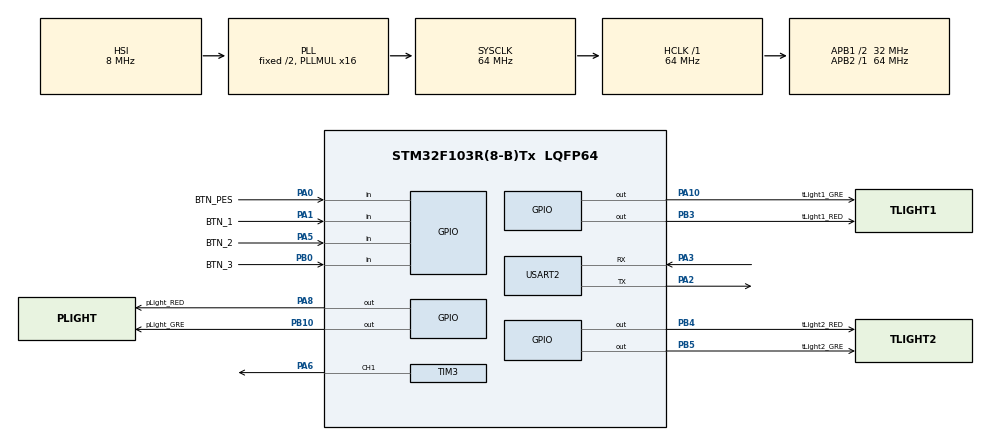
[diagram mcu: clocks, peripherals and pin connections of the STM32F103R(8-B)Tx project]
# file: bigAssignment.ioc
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Mcu.Family=STM32F1
Mcu.Name=STM32F103R(8-B)Tx
Mcu.Package=LQFP64
NVIC.PriorityGroup=NVIC_PRIORITYGROUP_4
NVIC.TIM2_IRQn=true\:0\:0\:false\:false\:true\:true\:true
PA0-WKUP.GPIO_Label=BTN_PES
PA0-WKUP.GPIO_PuPd=GPIO_PULLUP
PA0-WKUP.Signal=GPIO_Input
PA1.GPIO_Label=BTN_1
PA1.GPIO_PuPd=GPIO_PULLUP
PA1.Signal=GPIO_Input
PA10.GPIO_Label=tLight1_GRE
PA10.Signal=GPIO_Output
PA13.Mode=Serial_Wire
PA13.Signal=SYS_JTMS-SWDIO
PA14.Mode=Serial_Wire
PA14.Signal=SYS_JTCK-SWCLK
PA2.Mode=Asynchronous
PA2.Signal=USART2_TX
PA3.Mode=Asynchronous
PA3.Signal=USART2_RX
PA5.GPIO_Label=BTN_2
PA5.GPIO_PuPd=GPIO_PULLUP
PA5.Signal=GPIO_Input
PA6.Signal=S_TIM3_CH1
PA8.GPIO_Label=pLight_RED
PA8.Signal=GPIO_Output
PB0.GPIO_Label=BTN_3
PB0.GPIO_PuPd=GPIO_PULLUP
PB0.Signal=GPIO_Input
PB10.GPIO_Label=pLight_GRE
PB10.Signal=GPIO_Output
PB3.GPIO_Label=tLight1_RED
PB3.Signal=GPIO_Output
PB4.GPIO_Label=tLight2_RED
PB4.Signal=GPIO_Output
PB5.GPIO_Label=tLight2_GRE
PB5.Signal=GPIO_Output
ProjectManager.HeapSize=0x200
ProjectManager.StackSize=0x400
ProjectManager.TargetToolchain=STM32CubeIDE
RCC.AHBFreq_Value=64000000
RCC.APB1CLKDivider=RCC_HCLK_DIV2
RCC.APB1Freq_Value=32000000
RCC.APB1TimFreq_Value=64000000
RCC.APB2Freq_Value=64000000
RCC.APB2TimFreq_Value=64000000
RCC.HCLKFreq_Value=64000000
RCC.PLLMUL=RCC_PLL_MUL16
RCC.SYSCLKFreq_VALUE=64000000
RCC.SYSCLKSource=RCC_SYSCLKSOURCE_PLLCLK
RCC.USBFreq_Value=64000000
SH.S_TIM3_CH1.0=TIM3_CH1,PWM Generation1 CH1
TIM2.Period=10
TIM2.Prescaler=63999
TIM3.Channel-PWM\ Generation1\ CH1=TIM_CHANNEL_1
TIM3.Period=999
TIM3.Prescaler=63
USART2.VirtualMode=VM_ASYNC
VP_TIM2_VS_ClockSourceINT.Mode=Internal
VP_TIM3_VS_ClockSourceINT.Mode=Internal
board=custom

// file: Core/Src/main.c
/* USER CODE BEGIN Header */
/**
  ******************************************************************************
  * @file           : main.c
  * @brief          : Main program body
  ******************************************************************************
  * @attention
  *
  * <h2><center>&copy; Copyright (c) 2022 STMicroelectronics.
  * All rights reserved.</center></h2>
  *
  * This software component is licensed by ST under BSD 3-Clause license,
  * the "License"; You may not use this file except in compliance with the
  * License. You may obtain a copy of the License at:
  *                        opensource.org/licenses/BSD-3-Clause
  *
  ******************************************************************************
  */
/* USER CODE END Header */
#include "main.h"

/* USER CODE BEGIN Includes */
#include "button.h"
#include "software_timer.h"
#include "display_trafficLed.h"
#include "global.h"
#include "fsm_buttons.h"
#include "fsm.h"
#include "buzzer.h"
/* USER CODE END Includes */

TIM_HandleTypeDef htim2;
TIM_HandleTypeDef htim3;

UART_HandleTypeDef huart2;

void SystemClock_Config(void);
static void MX_GPIO_Init(void);
static void MX_TIM2_Init(void);
static void MX_USART2_UART_Init(void);
static void MX_TIM3_Init(void);

/* USER CODE BEGIN 0 */
char str[40] ;

void showTimer() {
	if(TIME %100 == 0) {
			int value = TIME/100 - 1;
			if(value >= 0){
			HAL_UART_Transmit(&huart2, (void*) str,
								sprintf(str, "TIME = %d \r", value), 1000);
			}
				}
}

void buzzer(int buz){
	__HAL_TIM_SetCompare(&htim3, TIM_CHANNEL_1, buz);
}
/* USER CODE END 0 */

int main(void)
{

  /* MCU Configuration--------------------------------------------------------*/

  /* Reset of all peripherals, Initializes the Flash interface and the Systick. */
  HAL_Init();

  /* Configure the system clock */
  SystemClock_Config();

  /* Initialize all configured peripherals */
  MX_GPIO_Init();
  MX_TIM2_Init();
  MX_USART2_UART_Init();
  MX_TIM3_Init();
  /* USER CODE BEGIN 2 */
  HAL_TIM_Base_Start_IT(&htim2);
  	HAL_TIM_PWM_Start(&htim3, TIM_CHANNEL_1);
  /* USER CODE END 2 */

  /* Infinite loop */
  /* USER CODE BEGIN WHILE */
	setTimer_tLight1(100);
	setTimer_tLight2(200);
	status = AUTOMATIC;
		status_1 = NORMAL;
  while (1)
  {
    /* USER CODE END WHILE */

    /* USER CODE BEGIN 3 */
		fsm_simple_buttons_run();
		fsm_run();
		fsm_pesRUN();
		showTimer();
  }
  /* USER CODE END 3 */
}

void SystemClock_Config(void)
{
  RCC_OscInitTypeDef RCC_OscInitStruct = {0};
  RCC_ClkInitTypeDef RCC_ClkInitStruct = {0};

  /** Initializes the RCC Oscillators according to the specified parameters
  * in the RCC_OscInitTypeDef structure.
  */
  RCC_OscInitStruct.OscillatorType = RCC_OSCILLATORTYPE_HSI;
  RCC_OscInitStruct.HSIState = RCC_HSI_ON;
  RCC_OscInitStruct.HSICalibrationValue = RCC_HSICALIBRATION_DEFAULT;
  RCC_OscInitStruct.PLL.PLLState = RCC_PLL_ON;
  RCC_OscInitStruct.PLL.PLLSource = RCC_PLLSOURCE_HSI_DIV2;
  RCC_OscInitStruct.PLL.PLLMUL = RCC_PLL_MUL16;
  if (HAL_RCC_OscConfig(&RCC_OscInitStruct) != HAL_OK)
  {
    Error_Handler();
  }
  /** Initializes the CPU, AHB and APB buses clocks
  */
  RCC_ClkInitStruct.ClockType = RCC_CLOCKTYPE_HCLK|RCC_CLOCKTYPE_SYSCLK
                              |RCC_CLOCKTYPE_PCLK1|RCC_CLOCKTYPE_PCLK2;
  RCC_ClkInitStruct.SYSCLKSource = RCC_SYSCLKSOURCE_PLLCLK;
  RCC_ClkInitStruct.AHBCLKDivider = RCC_SYSCLK_DIV1;
  RCC_ClkInitStruct.APB1CLKDivider = RCC_HCLK_DIV2;
  RCC_ClkInitStruct.APB2CLKDivider = RCC_HCLK_DIV1;

  if (HAL_RCC_ClockConfig(&RCC_ClkInitStruct, FLASH_LATENCY_2) != HAL_OK)
  {
    Error_Handler();
  }
}

static void MX_TIM2_Init(void)
{

  TIM_ClockConfigTypeDef sClockSourceConfig = {0};
  TIM_MasterConfigTypeDef sMasterConfig = {0};

  htim2.Instance = TIM2;
  htim2.Init.Prescaler = 63999;
  htim2.Init.CounterMode = TIM_COUNTERMODE_UP;
  htim2.Init.Period = 10;
  htim2.Init.ClockDivision = TIM_CLOCKDIVISION_DIV1;
  htim2.Init.AutoReloadPreload = TIM_AUTORELOAD_PRELOAD_DISABLE;
  if (HAL_TIM_Base_Init(&htim2) != HAL_OK)
  {
    Error_Handler();
  }
  sClockSourceConfig.ClockSource = TIM_CLOCKSOURCE_INTERNAL;
  if (HAL_TIM_ConfigClockSource(&htim2, &sClockSourceConfig) != HAL_OK)
  {
    Error_Handler();
  }
  sMasterConfig.MasterOutputTrigger = TIM_TRGO_RESET;
  sMasterConfig.MasterSlaveMode = TIM_MASTERSLAVEMODE_DISABLE;
  if (HAL_TIMEx_MasterConfigSynchronization(&htim2, &sMasterConfig) != HAL_OK)
  {
    Error_Handler();
  }

}

static void MX_TIM3_Init(void)
{

  TIM_ClockConfigTypeDef sClockSourceConfig = {0};
  TIM_MasterConfigTypeDef sMasterConfig = {0};
  TIM_OC_InitTypeDef sConfigOC = {0};

  htim3.Instance = TIM3;
  htim3.Init.Prescaler = 63;
  htim3.Init.CounterMode = TIM_COUNTERMODE_UP;
  htim3.Init.Period = 999;
  htim3.Init.ClockDivision = TIM_CLOCKDIVISION_DIV1;
  htim3.Init.AutoReloadPreload = TIM_AUTORELOAD_PRELOAD_DISABLE;
  if (HAL_TIM_Base_Init(&htim3) != HAL_OK)
  {
    Error_Handler();
  }
  sClockSourceConfig.ClockSource = TIM_CLOCKSOURCE_INTERNAL;
  if (HAL_TIM_ConfigClockSource(&htim3, &sClockSourceConfig) != HAL_OK)
  {
    Error_Handler();
  }
  if (HAL_TIM_PWM_Init(&htim3) != HAL_OK)
  {
    Error_Handler();
  }
  sMasterConfig.MasterOutputTrigger = TIM_TRGO_RESET;
  sMasterConfig.MasterSlaveMode = TIM_MASTERSLAVEMODE_DISABLE;
  if (HAL_TIMEx_MasterConfigSynchronization(&htim3, &sMasterConfig) != HAL_OK)
  {
    Error_Handler();
  }
  sConfigOC.OCMode = TIM_OCMODE_PWM1;
  sConfigOC.Pulse = 0;
  sConfigOC.OCPolarity = TIM_OCPOLARITY_HIGH;
  sConfigOC.OCFastMode = TIM_OCFAST_DISABLE;
  if (HAL_TIM_PWM_ConfigChannel(&htim3, &sConfigOC, TIM_CHANNEL_1) != HAL_OK)
  {
    Error_Handler();
  }
  HAL_TIM_MspPostInit(&htim3);

}

static void MX_USART2_UART_Init(void)
{

  huart2.Instance = USART2;
  huart2.Init.BaudRate = 115200;
  huart2.Init.WordLength = UART_WORDLENGTH_8B;
  huart2.Init.StopBits = UART_STOPBITS_1;
  huart2.Init.Parity = UART_PARITY_NONE;
  huart2.Init.Mode = UART_MODE_TX_RX;
  huart2.Init.HwFlowCtl = UART_HWCONTROL_NONE;
  huart2.Init.OverSampling = UART_OVERSAMPLING_16;
  if (HAL_UART_Init(&huart2) != HAL_OK)
  {
    Error_Handler();
  }

}

static void MX_GPIO_Init(void)
{
  GPIO_InitTypeDef GPIO_InitStruct = {0};

  /* GPIO Ports Clock Enable */
  __HAL_RCC_GPIOA_CLK_ENABLE();
  __HAL_RCC_GPIOB_CLK_ENABLE();

  /*Configure GPIO pin Output Level */
  HAL_GPIO_WritePin(GPIOB, pLight_GRE_Pin|tLight1_RED_Pin|tLight2_RED_Pin|tLight2_GRE_Pin, GPIO_PIN_RESET);

  /*Configure GPIO pin Output Level */
  HAL_GPIO_WritePin(GPIOA, pLight_RED_Pin|tLight1_GRE_Pin, GPIO_PIN_RESET);

  /*Configure GPIO pins : BTN_PES_Pin BTN_1_Pin BTN_2_Pin */
  GPIO_InitStruct.Pin = BTN_PES_Pin|BTN_1_Pin|BTN_2_Pin;
  GPIO_InitStruct.Mode = GPIO_MODE_INPUT;
  GPIO_InitStruct.Pull = GPIO_PULLUP;
  HAL_GPIO_Init(GPIOA, &GPIO_InitStruct);

  /*Configure GPIO pin : BTN_3_Pin */
  GPIO_InitStruct.Pin = BTN_3_Pin;
  GPIO_InitStruct.Mode = GPIO_MODE_INPUT;
  GPIO_InitStruct.Pull = GPIO_PULLUP;
  HAL_GPIO_Init(BTN_3_GPIO_Port, &GPIO_InitStruct);

  /*Configure GPIO pins : pLight_GRE_Pin tLight1_RED_Pin tLight2_RED_Pin tLight2_GRE_Pin */
  GPIO_InitStruct.Pin = pLight_GRE_Pin|tLight1_RED_Pin|tLight2_RED_Pin|tLight2_GRE_Pin;
  GPIO_InitStruct.Mode = GPIO_MODE_OUTPUT_PP;
  GPIO_InitStruct.Pull = GPIO_NOPULL;
  GPIO_InitStruct.Speed = GPIO_SPEED_FREQ_LOW;
  HAL_GPIO_Init(GPIOB, &GPIO_InitStruct);

  /*Configure GPIO pins : pLight_RED_Pin tLight1_GRE_Pin */
  GPIO_InitStruct.Pin = pLight_RED_Pin|tLight1_GRE_Pin;
  GPIO_InitStruct.Mode = GPIO_MODE_OUTPUT_PP;
  GPIO_InitStruct.Pull = GPIO_NOPULL;
  GPIO_InitStruct.Speed = GPIO_SPEED_FREQ_LOW;
  HAL_GPIO_Init(GPIOA, &GPIO_InitStruct);

}

/* USER CODE BEGIN 4 */
void HAL_TIM_PeriodElapsedCallback(TIM_HandleTypeDef *htim) {
	timerRun();
	getKeyInput();
}
/* USER CODE END 4 */

void Error_Handler(void)
{
  __disable_irq();
  while (1)
  {
  }
}

/************************ (C) COPYRIGHT STMicroelectronics *****END OF FILE****/
